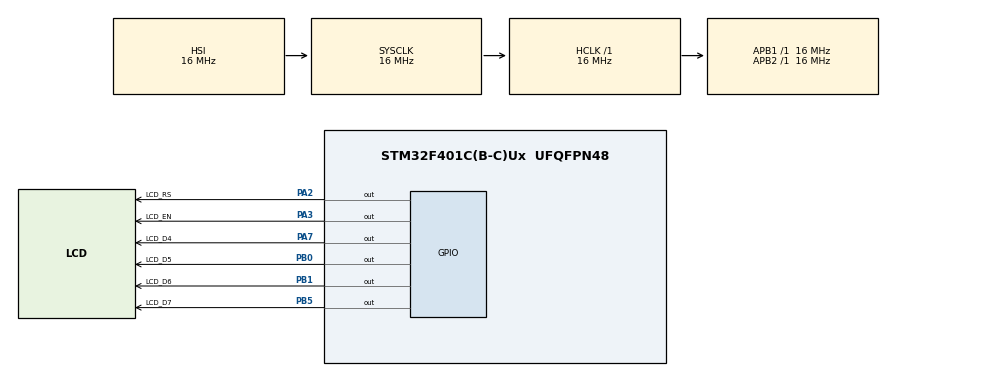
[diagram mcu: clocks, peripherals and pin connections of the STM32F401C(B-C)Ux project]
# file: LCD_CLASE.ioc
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Mcu.Family=STM32F4
Mcu.Name=STM32F401C(B-C)Ux
Mcu.Package=UFQFPN48
NVIC.PriorityGroup=NVIC_PRIORITYGROUP_4
PA2.GPIO_Label=LCD_RS
PA2.Signal=GPIO_Output
PA3.GPIO_Label=LCD_EN
PA3.Signal=GPIO_Output
PA7.GPIO_Label=LCD_D4
PA7.Signal=GPIO_Output
PB0.GPIO_Label=LCD_D5
PB0.Signal=GPIO_Output
PB1.GPIO_Label=LCD_D6
PB1.Signal=GPIO_Output
PB5.GPIO_Label=LCD_D7
PB5.Signal=GPIO_Output
PC14-OSC32_IN.Mode=LSE-External-Oscillator
PC14-OSC32_IN.Signal=RCC_OSC32_IN
PC15-OSC32_OUT.Mode=LSE-External-Oscillator
PC15-OSC32_OUT.Signal=RCC_OSC32_OUT
ProjectManager.HeapSize=0x200
ProjectManager.StackSize=0x400
ProjectManager.TargetToolchain=STM32CubeIDE
RCC.AHBFreq_Value=16000000
RCC.APB1Freq_Value=16000000
RCC.APB2Freq_Value=16000000
RCC.CortexFreq_Value=16000000
RCC.HSE_VALUE=25000000
RCC.HSI_VALUE=16000000
RCC.SYSCLKFreq_VALUE=16000000
RCC.VCOOutputFreq_Value=192000000
board=custom

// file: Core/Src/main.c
/* USER CODE BEGIN Header */
/**
  ******************************************************************************
  * @file           : main.c
  * @brief          : Main program body
  ******************************************************************************
  * @attention
  *
  * Copyright (c) 2023 STMicroelectronics.
  * All rights reserved.
  *
  * This software is licensed under terms that can be found in the LICENSE file
  * in the root directory of this software component.
  * If no LICENSE file comes with this software, it is provided AS-IS.
  *
  ******************************************************************************
  */
/* USER CODE END Header */
#include "main.h"

/* USER CODE BEGIN Includes */
#include "delays.h"
#include "lcd.h"
/* USER CODE END Includes */

/* USER CODE BEGIN PV */
char especial1[8] = {0x1B,0x1B,0x0,0x4,0x15,0x15,0xE,0x0};
char especial2[] = {0x1B,0x1B,0x11,0x11,0x11,0xA,0x4,0x1B};

/* USER CODE END PV */

void SystemClock_Config(void);
static void MX_GPIO_Init(void);

int main(void)
{

  /* MCU Configuration--------------------------------------------------------*/

  /* Reset of all peripherals, Initializes the Flash interface and the Systick. */
  HAL_Init();

  /* Configure the system clock */
  SystemClock_Config();

  /* Initialize all configured peripherals */
  MX_GPIO_Init();
  /* USER CODE BEGIN 2 */
  delay_us_dwt_init();

    Lcd_Init();// inica el lcd
    Lcd_Cmd(_LCD_CLEAR);//borro pantalla

    Lcd_Cmd(_LCD_CURSOR_OFF);// apaga opcional

      Lcd_Text(1, 2, "SUSCRINBANSE");
     Lcd_Text(3,3, "AL CANAL");
     Lcd_Chr(2, 8, '5');

     Lcd_Text_Cp("VOLT");
     Lcd_Chr_Cp('x');

     Lcd_chr_propio(2, 1, 1, especial1);
     Lcd_chr_propio(4, 4, 2, especial2);

  /* USER CODE END 2 */

  /* Infinite loop */
  while (1)
  {

  }
}

void SystemClock_Config(void)
{
  RCC_OscInitTypeDef RCC_OscInitStruct = {0};
  RCC_ClkInitTypeDef RCC_ClkInitStruct = {0};

  /** Configure the main internal regulator output voltage
  */
  __HAL_RCC_PWR_CLK_ENABLE();
  __HAL_PWR_VOLTAGESCALING_CONFIG(PWR_REGULATOR_VOLTAGE_SCALE2);

  /** Initializes the RCC Oscillators according to the specified parameters
  * in the RCC_OscInitTypeDef structure.
  */
  RCC_OscInitStruct.OscillatorType = RCC_OSCILLATORTYPE_HSI;
  RCC_OscInitStruct.HSIState = RCC_HSI_ON;
  RCC_OscInitStruct.HSICalibrationValue = RCC_HSICALIBRATION_DEFAULT;
  RCC_OscInitStruct.PLL.PLLState = RCC_PLL_NONE;
  if (HAL_RCC_OscConfig(&RCC_OscInitStruct) != HAL_OK)
  {
    Error_Handler();
  }

  /** Initializes the CPU, AHB and APB buses clocks
  */
  RCC_ClkInitStruct.ClockType = RCC_CLOCKTYPE_HCLK|RCC_CLOCKTYPE_SYSCLK
                              |RCC_CLOCKTYPE_PCLK1|RCC_CLOCKTYPE_PCLK2;
  RCC_ClkInitStruct.SYSCLKSource = RCC_SYSCLKSOURCE_HSI;
  RCC_ClkInitStruct.AHBCLKDivider = RCC_SYSCLK_DIV1;
  RCC_ClkInitStruct.APB1CLKDivider = RCC_HCLK_DIV1;
  RCC_ClkInitStruct.APB2CLKDivider = RCC_HCLK_DIV1;

  if (HAL_RCC_ClockConfig(&RCC_ClkInitStruct, FLASH_LATENCY_0) != HAL_OK)
  {
    Error_Handler();
  }
}

static void MX_GPIO_Init(void)
{
  GPIO_InitTypeDef GPIO_InitStruct = {0};

  /* GPIO Ports Clock Enable */
  __HAL_RCC_GPIOC_CLK_ENABLE();
  __HAL_RCC_GPIOA_CLK_ENABLE();
  __HAL_RCC_GPIOB_CLK_ENABLE();

  /*Configure GPIO pin Output Level */
  HAL_GPIO_WritePin(GPIOA, LCD_RS_Pin|LCD_EN_Pin|LCD_D4_Pin, GPIO_PIN_RESET);

  /*Configure GPIO pin Output Level */
  HAL_GPIO_WritePin(GPIOB, LCD_D5_Pin|LCD_D6_Pin|LCD_D7_Pin, GPIO_PIN_RESET);

  /*Configure GPIO pins : LCD_RS_Pin LCD_EN_Pin LCD_D4_Pin */
  GPIO_InitStruct.Pin = LCD_RS_Pin|LCD_EN_Pin|LCD_D4_Pin;
  GPIO_InitStruct.Mode = GPIO_MODE_OUTPUT_PP;
  GPIO_InitStruct.Pull = GPIO_NOPULL;
  GPIO_InitStruct.Speed = GPIO_SPEED_FREQ_LOW;
  HAL_GPIO_Init(GPIOA, &GPIO_InitStruct);

  /*Configure GPIO pins : LCD_D5_Pin LCD_D6_Pin LCD_D7_Pin */
  GPIO_InitStruct.Pin = LCD_D5_Pin|LCD_D6_Pin|LCD_D7_Pin;
  GPIO_InitStruct.Mode = GPIO_MODE_OUTPUT_PP;
  GPIO_InitStruct.Pull = GPIO_NOPULL;
  GPIO_InitStruct.Speed = GPIO_SPEED_FREQ_LOW;
  HAL_GPIO_Init(GPIOB, &GPIO_InitStruct);

}

void Error_Handler(void)
{
  __disable_irq();
  while (1)
  {
  }
}
